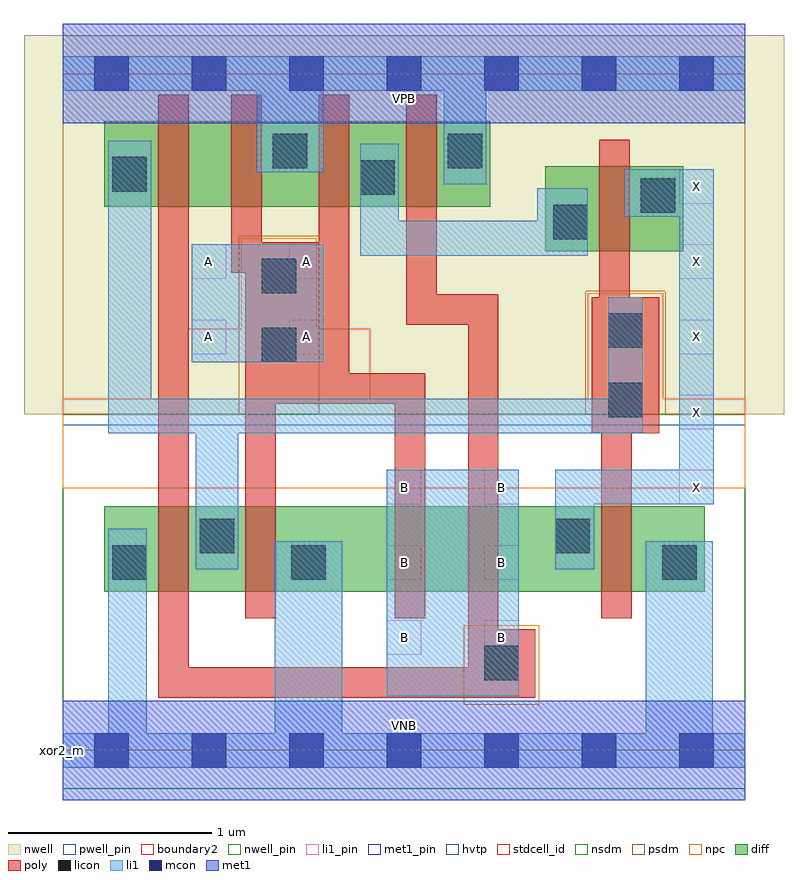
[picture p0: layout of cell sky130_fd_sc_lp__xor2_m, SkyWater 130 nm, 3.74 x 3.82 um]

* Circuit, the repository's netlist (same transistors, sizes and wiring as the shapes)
* Copyright 2020 The SkyWater PDK Authors
*
* Licensed under the Apache License, Version 2.0 (the "License");
* you may not use this file except in compliance with the License.
* You may obtain a copy of the License at
*
*     https://www.apache.org/licenses/LICENSE-2.0
*
* Unless required by applicable law or agreed to in writing, software
* distributed under the License is distributed on an "AS IS" BASIS,
* WITHOUT WARRANTIES OR CONDITIONS OF ANY KIND, either express or implied.
* See the License for the specific language governing permissions and
* limitations under the License.
*
* SPDX-License-Identifier: Apache-2.0

.SUBCKT sky130_fd_sc_lp__xor2_m A B VGND VNB VPB VPWR X
*.PININFO A:I B:I VGND:I VNB:I VPB:I VPWR:I X:O
MMNnor0 inor A VGND VNB sky130_fd_pr__nfet_01v8 m=1 w=0.42U l=0.15U mult=1 sa=0.265
+ sb=0.265 sd=0.28 area=0.063 perim=1.14
MMNnor1 inor B VGND VNB sky130_fd_pr__nfet_01v8 m=1 w=0.42U l=0.15U mult=1 sa=0.265
+ sb=0.265 sd=0.28 area=0.063 perim=1.14
MMNaoi10 VGND A sndNA VNB sky130_fd_pr__nfet_01v8 m=1 w=0.42U l=0.15U mult=1 sa=0.265
+ sb=0.265 sd=0.28 area=0.063 perim=1.14
MMNaoi11 sndNA B X VNB sky130_fd_pr__nfet_01v8 m=1 w=0.42U l=0.15U mult=1 sa=0.265
+ sb=0.265 sd=0.28 area=0.063 perim=1.14
MMNaoi20 X inor VGND VNB sky130_fd_pr__nfet_01v8 m=1 w=0.42U l=0.15U mult=1 sa=0.265
+ sb=0.265 sd=0.28 area=0.063 perim=1.14
MMPnor0 VPWR A sndPA VPB sky130_fd_pr__pfet_01v8_hvt m=1 w=0.42U l=0.15U mult=1
+ sa=0.265 sb=0.265 sd=0.28 area=0.063 perim=1.14
MMPnor1 sndPA B inor VPB sky130_fd_pr__pfet_01v8_hvt m=1 w=0.42U l=0.15U mult=1
+ sa=0.265 sb=0.265 sd=0.28 area=0.063 perim=1.14
MMPaoi10 pmid A VPWR VPB sky130_fd_pr__pfet_01v8_hvt m=1 w=0.42U l=0.15U mult=1
+ sa=0.265 sb=0.265 sd=0.28 area=0.063 perim=1.14
MMPaoi11 pmid B VPWR VPB sky130_fd_pr__pfet_01v8_hvt m=1 w=0.42U l=0.15U mult=1
+ sa=0.265 sb=0.265 sd=0.28 area=0.063 perim=1.14
MMPaoi20 X inor pmid VPB sky130_fd_pr__pfet_01v8_hvt m=1 w=0.42U l=0.15U mult=1
+ sa=0.265 sb=0.265 sd=0.28 area=0.063 perim=1.14
.ENDS sky130_fd_sc_lp__xor2_m

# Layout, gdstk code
import gdstk
lib = gdstk.Library(unit=1e-6, precision=1e-09)
def R(c, l, rs):  # rectangles x0, y0, x1, y1
    for r in rs: c.add(gdstk.rectangle(r[:2], r[2:], *l))
def A(c, l, x, y, w, h, nx, ny, dx, dy):  # array of equal rectangles
    R(c, l, [(x+i*dx, y+j*dy, x+i*dx+w, y+j*dy+h) for i in range(nx) for j in range(ny)])
def P(c, l, *ps):  # polygons
    for p in ps: c.add(gdstk.Polygon(p, *l))
nwell_pin = (64, 16)
nwell = (64, 20)
diff = (65, 20)
poly = (66, 20)
licon = (66, 44)
li1_pin = (67, 16)
li1 = (67, 20)
mcon = (67, 44)
met1_pin = (68, 16)
met1 = (68, 20)
hvtp = (78, 44)
stdcell_id = (81, 4)
nsdm = (93, 44)
psdm = (94, 20)
npc = (95, 20)
pwell_pin = (122, 16)
boundary2 = (236, 0)

sky130_fd_sc_lp__xor2_m = lib.new_cell('sky130_fd_sc_lp__xor2_m')
R(sky130_fd_sc_lp__xor2_m, nwell_pin, [(0,3.085,3.36,3.33)])
R(sky130_fd_sc_lp__xor2_m, nwell, [(-0.19,1.655,3.55,3.52)])
R(sky130_fd_sc_lp__xor2_m, diff, [(0.205,0.78,3.16,1.2), (2.375,2.455,3.055,2.875), (0.205,2.675,2.105,3.095)])
P(sky130_fd_sc_lp__xor2_m, poly, [(1.785,1.855),(1.41,1.855),(1.41,3.225),(1.26,3.225),(1.26,2.5),(0.98,2.5),(0.98,3.225),(0.83,3.225),(0.83,2.35),(0.9,2.35),(0.9,0.65),(1.05,0.65),(1.05,1.705),(1.635,1.705),(1.635,0.65),(1.785,0.65)],
  [(2.325,0.595),(2.145,0.595),(2.145,2.245),(1.84,2.245),(1.84,3.225),(1.69,3.225),(1.69,2.095),(1.995,2.095),(1.995,0.41),(0.62,0.41),(0.62,3.225),(0.47,3.225),(0.47,0.26),(2.325,0.26)],
  [(2.935,2.23),(2.79,2.23),(2.79,3.005),(2.64,3.005),(2.64,2.23),(2.605,2.23),(2.605,1.56),(2.65,1.56),(2.65,0.65),(2.8,0.65),(2.8,1.56),(2.935,1.56)])
R(sky130_fd_sc_lp__xor2_m, licon, [(2.075,0.345,2.245,0.515), (0.245,0.84,0.415,1.01), (1.125,0.84,1.295,1.01), (2.95,0.84,3.12,1.01), (0.675,0.97,0.845,1.14), (2.425,0.97,2.595,1.14), (2.685,1.64,2.855,1.81), (0.98,1.91,1.15,2.08), (2.685,1.98,2.855,2.15), (0.98,2.25,1.15,2.42), (2.415,2.515,2.585,2.685), (2.845,2.645,3.015,2.815), (1.465,2.735,1.635,2.905), (0.245,2.75,0.415,2.92), (1.035,2.865,1.205,3.035), (1.895,2.865,2.065,3.035)])
A(sky130_fd_sc_lp__xor2_m, li1_pin, 1.595, 0.47, 0.17, 0.17, 1, 3, 0, 0.37)
A(sky130_fd_sc_lp__xor2_m, li1_pin, 2.075, 0.47, 0.17, 0.17, 1, 3, 0, 0.37)
A(sky130_fd_sc_lp__xor2_m, li1_pin, 3.035, 1.21, 0.17, 0.17, 1, 5, 0, 0.37)
R(sky130_fd_sc_lp__xor2_m, li1_pin, [(0.635,1.95,0.805,2.12), (1.115,1.95,1.285,2.12), (0.635,2.32,0.805,2.49), (1.115,2.32,1.285,2.49)])
R(sky130_fd_sc_lp__xor2_m, li1, [(1.595,0.265,2.245,1.38), (0.635,1.91,1.285,2.49)])
P(sky130_fd_sc_lp__xor2_m, li1, [(1.875,2.785),(1.875,3.245),(1.285,3.245),(1.285,2.845),(0.955,2.845),(0.955,3.245),(0,3.245),(0,3.415),(3.36,3.415),(3.36,3.245),(2.085,3.245),(2.085,2.785)],
  [(2.87,0.085),(2.87,1.03),(3.2,1.03),(3.2,0.085),(3.36,0.085),(3.36,-0.085),(0,-0.085),(0,0.085),(0.225,0.085),(0.225,1.09),(0.415,1.09),(0.415,0.085),(1.045,0.085),(1.045,1.03),(1.375,1.03),(1.375,0.085)],
  [(3.035,1.38),(3.035,2.625),(2.765,2.625),(2.765,2.86),(3.205,2.86),(3.205,1.21),(2.615,1.21),(2.615,0.89),(2.425,0.89),(2.425,1.38)],
  [(1.465,2.435),(1.465,2.985),(1.655,2.985),(1.655,2.605),(2.335,2.605),(2.335,2.765),(2.585,2.765),(2.585,2.435)],
  [(0.435,1.73),(2.685,1.73),(2.685,2.23),(2.855,2.23),(2.855,1.56),(0.865,1.56),(0.865,0.89),(0.655,0.89),(0.655,1.56),(0.225,1.56),(0.225,3),(0.435,3)])
A(sky130_fd_sc_lp__xor2_m, mcon, 0.155, -0.085, 0.17, 0.17, 7, 2, 0.48, 3.33)
R(sky130_fd_sc_lp__xor2_m, met1_pin, [(0,0,3.36,0.245), (0,3.085,3.36,3.33)])
R(sky130_fd_sc_lp__xor2_m, met1, [(0,-0.245,3.36,0.245), (0,3.085,3.36,3.575)])
R(sky130_fd_sc_lp__xor2_m, hvtp, [(0,1.6,3.36,3.33)])
R(sky130_fd_sc_lp__xor2_m, stdcell_id, [(0,0,3.36,3.33)])
R(sky130_fd_sc_lp__xor2_m, nsdm, [(0,-0.19,3.36,1.655)])
P(sky130_fd_sc_lp__xor2_m, psdm, [(3.36,3.52),(0,3.52),(0,1.655),(0.87,1.655),(0.87,2.53),(1.26,2.53),(1.26,1.655),(2.575,1.655),(2.575,2.26),(2.965,2.26),(2.965,1.655),(3.36,1.655)])
R(sky130_fd_sc_lp__xor2_m, npc, [(1.975,0.225,2.345,0.615)])
P(sky130_fd_sc_lp__xor2_m, npc, [(3.36,1.73),(2.955,1.73),(2.955,2.25),(2.585,2.25),(2.585,1.73),(1.515,1.73),(1.515,2.075),(1.25,2.075),(1.25,2.52),(0.88,2.52),(0.88,2.075),(0.615,2.075),(0.615,1.73),(0,1.73),(0,1.29),(3.36,1.29)])
R(sky130_fd_sc_lp__xor2_m, pwell_pin, [(0,0,3.36,0.245)])
R(sky130_fd_sc_lp__xor2_m, boundary2, [(0,0,3.36,3.33)])
sky130_fd_sc_lp__xor2_m.add(gdstk.Label('VNB', (1.68,0.123), layer=64, texttype=59))
sky130_fd_sc_lp__xor2_m.add(gdstk.Label('VPB', (1.68,3.208), layer=64, texttype=5))
sky130_fd_sc_lp__xor2_m.add(gdstk.Label('xor2_m', (0,0), layer=83, texttype=44))
sky130_fd_sc_lp__xor2_m.add(gdstk.Label('VPWR', (1.68,3.208), layer=68, texttype=5))
sky130_fd_sc_lp__xor2_m.add(gdstk.Label('VGND', (1.68,0.123), layer=68, texttype=5))
sky130_fd_sc_lp__xor2_m.add(gdstk.Label('A', (0.72,2.035), layer=67, texttype=5))
sky130_fd_sc_lp__xor2_m.add(gdstk.Label('A', (0.72,2.405), layer=67, texttype=5))
sky130_fd_sc_lp__xor2_m.add(gdstk.Label('A', (1.2,2.035), layer=67, texttype=5))
sky130_fd_sc_lp__xor2_m.add(gdstk.Label('A', (1.2,2.405), layer=67, texttype=5))
sky130_fd_sc_lp__xor2_m.add(gdstk.Label('B', (1.68,0.555), layer=67, texttype=5))
sky130_fd_sc_lp__xor2_m.add(gdstk.Label('B', (1.68,0.925), layer=67, texttype=5))
sky130_fd_sc_lp__xor2_m.add(gdstk.Label('B', (1.68,1.295), layer=67, texttype=5))
sky130_fd_sc_lp__xor2_m.add(gdstk.Label('B', (2.16,0.555), layer=67, texttype=5))
sky130_fd_sc_lp__xor2_m.add(gdstk.Label('B', (2.16,0.925), layer=67, texttype=5))
sky130_fd_sc_lp__xor2_m.add(gdstk.Label('B', (2.16,1.295), layer=67, texttype=5))
sky130_fd_sc_lp__xor2_m.add(gdstk.Label('X', (3.12,1.295), layer=67, texttype=5))
sky130_fd_sc_lp__xor2_m.add(gdstk.Label('X', (3.12,1.665), layer=67, texttype=5))
sky130_fd_sc_lp__xor2_m.add(gdstk.Label('X', (3.12,2.035), layer=67, texttype=5))
sky130_fd_sc_lp__xor2_m.add(gdstk.Label('X', (3.12,2.405), layer=67, texttype=5))
sky130_fd_sc_lp__xor2_m.add(gdstk.Label('X', (3.12,2.775), layer=67, texttype=5))

lib.write_gds('sky130_fd_sc_lp__xor2_m.gds')
